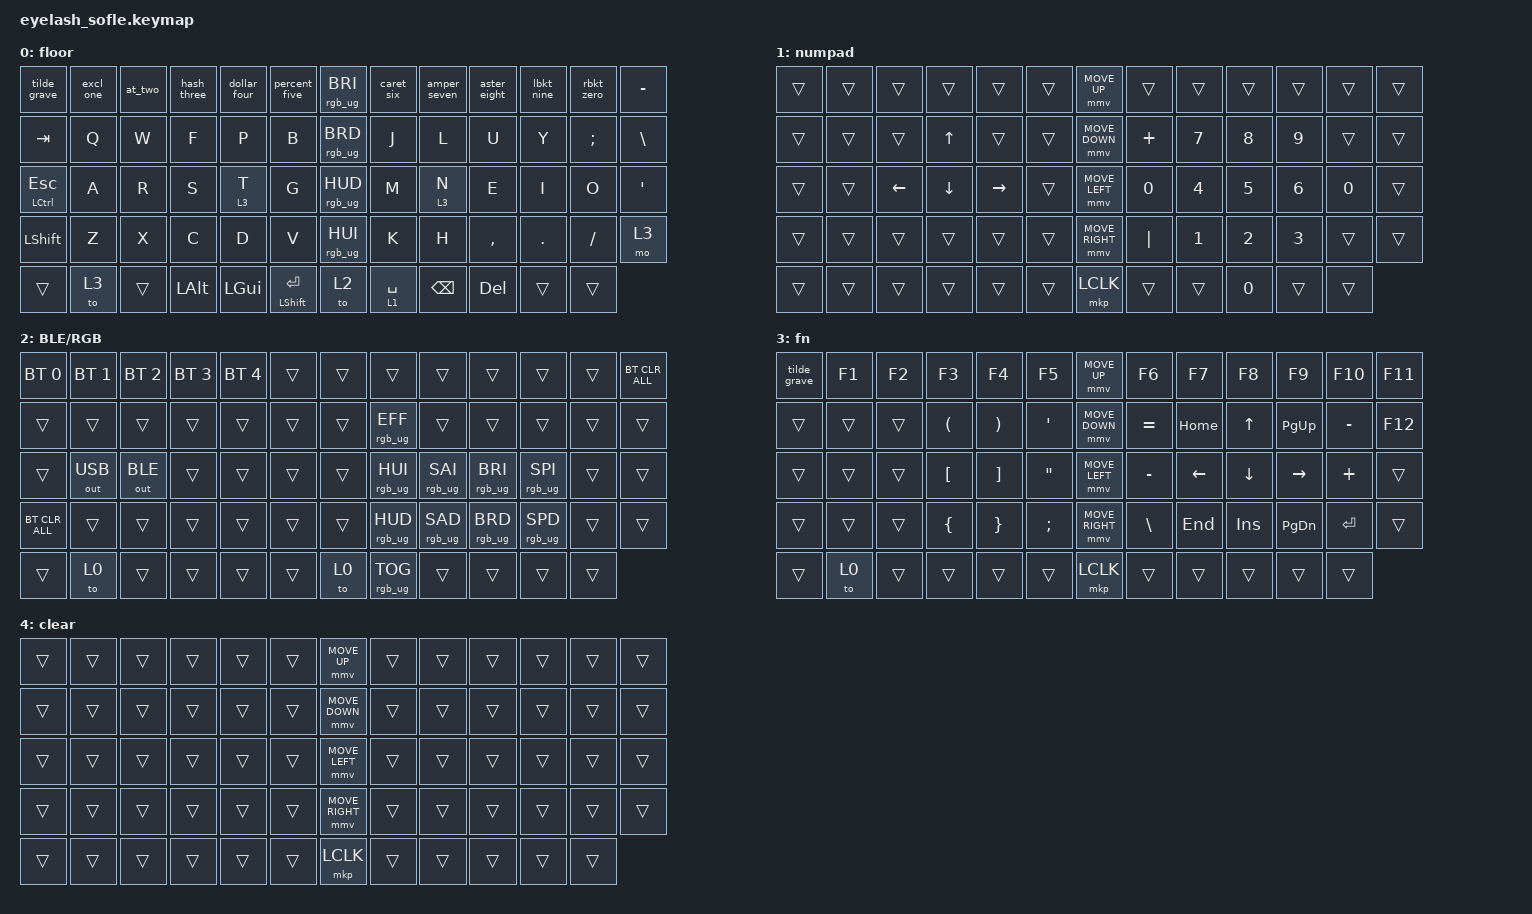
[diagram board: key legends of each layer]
#define ZMK_POINTING_DEFAULT_MOVE_VAL 1200  // 600
#define ZMK_POINTING_DEFAULT_SCRL_VAL 25   // 10

#include <input/processors.dtsi>
#include <zephyr/dt-bindings/input/input-event-codes.h>
#include <behaviors.dtsi>
#include <dt-bindings/zmk/behaviors.h>
#include <dt-bindings/zmk/bt.h>
#include <dt-bindings/zmk/ext_power.h>
#include <dt-bindings/zmk/keys.h>
#include <dt-bindings/zmk/pointing.h>
#include <dt-bindings/zmk/rgb.h>
#include <dt-bindings/zmk/outputs.h>

&mmv_input_listener { input-processors = <&zip_xy_scaler 2 1>; };

&mmv {
    time-to-max-speed-ms = <100>;
    acceleration-exponent = <1>;
    trigger-period-ms = <16>;
};

/ {
    behaviors {
        llt: long_layer_tap {
            compatible = "zmk,behavior-hold-tap";
            #binding-cells = <2>;
            flavor = "hold-preferred";
            tapping-term-ms = <350>;
            bindings = <&mo>, <&kp>;
            display-name = "Long-Layer-Tap";
        };
        hml: home_row_mod_left {
            compatible = "zmk,behavior-hold-tap";
            #binding-cells = <2>;
            flavor = "balanced";
            require-prior-idle-ms = <90>;
            tapping-term-ms = <280>;
            quick-tap-ms = <175>;
            bindings = <&mo>, <&kp>;
            hold-trigger-key-positions = <7 8 9 10 11 12 20 21 22 23 24 25 33 34 35 36 37 38 46 47 48 49 50 51 59 60 61 62 63>; // List of keys on the right side of the keyboard
            hold-trigger-on-release;
        };
        hmr: home_row_mod_right {
            compatible = "zmk,behavior-hold-tap";
            #binding-cells = <2>;
            flavor = "balanced";
            require-prior-idle-ms = <90>;
            tapping-term-ms = <280>;
            quick-tap-ms = <175>;
            bindings = <&mo>, <&kp>;
            hold-trigger-key-positions = <0 1 2 3 4 5 13 14 15 16 17 18 26 27 28 29 30 31 39 40 41 42 43 44 52 53 54 55 56 57>; // List of keys on the left side of the keyboard
            hold-trigger-on-release;
        };
    };
    combos {
        // compatible = "zmk,combos";
        // combo_enter {
        //     timeout-ms = <30>;
        //     key-positions = <34 35 36>;
        //     bindings = <&kp ENTER>;
        // };
        compatible = "zmk,combos";
        combo_inside_parens {
            timeout-ms = <30>;
            key-positions = <16 17>;
            bindings = <&parens_inside>;
        };
        compatible = "zmk,combos";
        combo_inside_brackets {
            timeout-ms = <30>;
            key-positions = <29 30>;
            bindings = <&brackets_inside>;
        };
        compatible = "zmk,combos";
        combo_inside_braces {
            timeout-ms = <30>;
            key-positions = <42 43>;
            bindings = <&braces_inside>;
        };
        compatible = "zmk,combos";
        combo_inside_tags {
            timeout-ms = <30>;
            key-positions = <47 48>;
            bindings = <&tags_inside>;
        };
    };
    behaviors {
        excl_one: exclamation_one {
            compatible = "zmk,behavior-mod-morph";
            #binding-cells = <0>;
            bindings = <&kp EXCLAMATION>, <&kp N1>;
            mods = <(MOD_LSFT|MOD_RSFT)>;
        };
        at_two: at_two {
            compatible = "zmk,behavior-mod-morph";
            #binding-cells = <0>;
            bindings = <&kp AT>, <&kp N2>;
            mods = <(MOD_LSFT|MOD_RSFT)>;
        };
        hash_three: hash_three {
            compatible = "zmk,behavior-mod-morph";
            #binding-cells = <0>;
            bindings = <&kp HASH>, <&kp N3>;
            mods = <(MOD_LSFT|MOD_RSFT)>;
        };
        dollar_four: dollar_four {
            compatible = "zmk,behavior-mod-morph";
            #binding-cells = <0>;
            bindings = <&kp DOLLAR>, <&kp N4>;
            mods = <(MOD_LSFT|MOD_RSFT)>;
        };
        percent_five: percent_five {
            compatible = "zmk,behavior-mod-morph";
            #binding-cells = <0>;
            bindings = <&kp PERCENT>, <&kp N5>;
            mods = <(MOD_LSFT|MOD_RSFT)>;
        };
        caret_six: caret_six {
            compatible = "zmk,behavior-mod-morph";
            #binding-cells = <0>;
            bindings = <&kp CARET>, <&kp N6>;
            mods = <(MOD_LSFT|MOD_RSFT)>;
        };
        amper_seven: ampersand_seven {
            compatible = "zmk,behavior-mod-morph";
            #binding-cells = <0>;
            bindings = <&kp AMPERSAND>, <&kp N7>;
            mods = <(MOD_LSFT|MOD_RSFT)>;
        };
        aster_eight: asterisk_eight {
            compatible = "zmk,behavior-mod-morph";
            #binding-cells = <0>;
            bindings = <&kp ASTERISK>, <&kp N8>;
            mods = <(MOD_LSFT|MOD_RSFT)>;
        };
        lbkt_nine: left_bracket_nine {
            compatible = "zmk,behavior-mod-morph";
            #binding-cells = <0>;
            bindings = <&kp LBKT>, <&kp N9>;
            mods = <(MOD_LSFT|MOD_RSFT)>;
        };
        rbkt_zero: right_bracket_zero {
            compatible = "zmk,behavior-mod-morph";
            #binding-cells = <0>;
            bindings = <&kp RBKT>, <&kp N0>;
            mods = <(MOD_LSFT|MOD_RSFT)>;
        };
        tilde_grave: tilde_grave {
            compatible = "zmk,behavior-mod-morph";
            #binding-cells = <0>;
            bindings = <&kp TILDE>, <&kp GRAVE>;
            mods = <(MOD_LSFT|MOD_RSFT)>;
        };
        lpar_rpar: leftparenthesis_rightparenthesis {
            compatible = "zmk,behavior-mod-morph";
            #binding-cells = <0>;
            bindings = <&kp LPAR>, <&kp RPAR>;
            mods = <(MOD_LSFT|MOD_RSFT)>;
        };
        lbkt_rbkt: leftbracket_rightbracket {
            compatible = "zmk,behavior-mod-morph";
            #binding-cells = <0>;
            bindings = <&kp LBKT>, <&kp RBKT>;
            mods = <(MOD_LSFT|MOD_RSFT)>;
        };
        lbrc_rbrc: leftbrace_rightbrace {
            compatible = "zmk,behavior-mod-morph";
            #binding-cells = <0>;
            bindings = <&kp LBRC>, <&kp RBRC>;
            mods = <(MOD_LSFT|MOD_RSFT)>;
        };
    };
    macros {
        parens_inside: parens_inside {
            compatible = "zmk,behavior-macro";
            #binding-cells = <0>;
            bindings = <&macro_tap &kp LPAR &kp RPAR &kp LEFT_ARROW>;
        };
        brackets_inside: brackets_inside {
            compatible = "zmk,behavior-macro";
            #binding-cells = <0>;
            bindings = <&macro_tap &kp LBKT &kp RBKT &kp LEFT_ARROW>;
        };
        braces_inside: braces_inside {
            compatible = "zmk,behavior-macro";
            #binding-cells = <0>;
            bindings = <&macro_tap &kp LBRC &kp RBRC &kp LEFT_ARROW>;
        };
        tags_inside: tags_inside {
            compatible = "zmk,behavior-macro";
            #binding-cells = <0>;
            bindings = <&macro_tap &kp LESS_THAN &kp GREATER_THAN &kp LEFT_ARROW>;
        };
    };
    keymap {
        compatible = "zmk,keymap";

        layer0 {
            bindings = <
&tilde_grave     &excl_one    &at_two        &hash_three      &dollar_four     &percent_five         &rgb_ug RGB_BRI   &caret_six   &amper_seven   &aster_eight   &lbkt_nine    &rbkt_zero   &kp MINUS
&kp TAB          &kp Q        &kp W          &kp F            &kp P            &kp B                 &rgb_ug RGB_BRD   &kp J        &kp L          &kp U          &kp Y         &kp SEMI     &kp BSLH
&mt LCTRL ESC    &kp A        &kp R          &kp S            &hml 3 T         &kp G                 &rgb_ug RGB_HUD   &kp M        &hmr 3 N       &kp E          &kp I         &kp O        &kp APOS
&kp LSHFT        &kp Z        &kp X          &kp C            &kp D            &kp V                 &rgb_ug RGB_HUI   &kp K        &kp H          &kp COMMA      &kp DOT       &kp FSLH     &mo 3
&trans           &to 3        &trans         &kp LEFT_ALT     &kp LEFT_GUI     &mt LSHFT ENTER       &to 2             &llt 1 SPACE &kp BACKSPACE  &kp DELETE     &trans        &trans
                 >;

            display-name = "floor";
        };

        layer_1 {
            bindings = <
&trans      &trans        &trans          &trans          &trans          &trans      &mmv MOVE_UP     &trans         &trans       &trans         &trans        &trans       &trans
&trans      &trans        &trans          &kp UP_ARROW    &trans          &trans      &mmv MOVE_DOWN   &kp PLUS       &kp N7       &kp N8         &kp N9        &trans       &trans
&trans      &trans        &kp LEFT_ARROW  &kp DOWN_ARROW  &kp RIGHT_ARROW &trans      &mmv MOVE_LEFT   &kp N0         &kp N4       &kp N5         &kp N6        &kp N0       &trans
&trans      &trans        &trans          &trans          &trans          &trans      &mmv MOVE_RIGHT  &kp PIPE       &kp N1       &kp N2         &kp N3        &trans       &trans
&trans      &trans        &trans          &trans          &trans          &trans      &mkp LCLK        &trans         &trans       &kp N0         &trans        &trans
            >;

            display-name = "numpad";
        };

        layer_2 {
            bindings = <
&bt BT_SEL 0     &bt BT_SEL 1    &bt BT_SEL 2    &bt BT_SEL 3  &bt BT_SEL 4    &trans       &trans     &trans            &trans            &trans              &trans              &trans      &bt BT_CLR_ALL
&trans           &trans          &trans          &trans        &trans          &trans       &trans     &rgb_ug RGB_EFF   &trans            &trans              &trans              &trans      &trans
&trans           &out OUT_USB    &out OUT_BLE    &trans        &trans          &trans       &trans     &rgb_ug RGB_HUI   &rgb_ug RGB_SAI   &rgb_ug RGB_BRI     &rgb_ug RGB_SPI     &trans      &trans
&bt BT_CLR_ALL   &trans          &trans          &trans        &trans          &trans       &trans     &rgb_ug RGB_HUD   &rgb_ug RGB_SAD   &rgb_ug RGB_BRD     &rgb_ug RGB_SPD     &trans      &trans
&trans           &to 0           &trans          &trans        &trans          &trans       &to 0      &rgb_ug RGB_TOG   &trans            &trans              &trans              &trans
            >;

            display-name = "BLE/RGB";
        };

        layer_3 {
            bindings = <
&tilde_grave &kp F1       &kp F2      &kp F3        &kp F4        &kp F5            &mmv MOVE_UP     &kp F6      &kp F7         &kp F8         &kp F9            &kp F10    &kp F11 
&trans       &trans       &trans      &kp LPAR      &kp RPAR      &kp APOS          &mmv MOVE_DOWN   &kp EQUAL   &kp HOME       &kp UP_ARROW   &kp PAGE_UP       &kp MINUS  &kp F12
&trans       &trans       &trans      &kp LBKT      &kp RBKT      &kp DOUBLE_QUOTES &mmv MOVE_LEFT   &kp MINUS   &kp LEFT_ARROW &kp DOWN_ARROW &kp RIGHT_ARROW   &kp PLUS   &trans
&trans       &trans       &trans      &kp LBRC      &kp RBRC      &kp SEMI          &mmv MOVE_RIGHT  &kp BSLH    &kp END        &kp INSERT     &kp PAGE_DOWN     &kp ENTER  &trans
&trans       &to 0        &trans      &trans        &trans        &trans            &mkp LCLK        &trans      &trans         &trans         &trans            &trans
            >;

            display-name = "fn";
        };

        layer_4 {
            bindings = <
&trans      &trans        &trans       &trans       &trans       &trans      &mmv MOVE_UP     &trans           &trans       &trans      &trans     &trans        &trans
&trans      &trans        &trans       &trans       &trans       &trans      &mmv MOVE_DOWN   &trans           &trans       &trans      &trans     &trans        &trans
&trans      &trans        &trans       &trans       &trans       &trans      &mmv MOVE_LEFT   &trans           &trans       &trans      &trans     &trans        &trans
&trans      &trans        &trans       &trans       &trans       &trans      &mmv MOVE_RIGHT  &trans           &trans       &trans      &trans     &trans        &trans
&trans      &trans        &trans       &trans       &trans       &trans      &mkp LCLK        &trans           &trans       &trans      &trans     &trans
            >;

            display-name = "clear";
        };
    };
};
